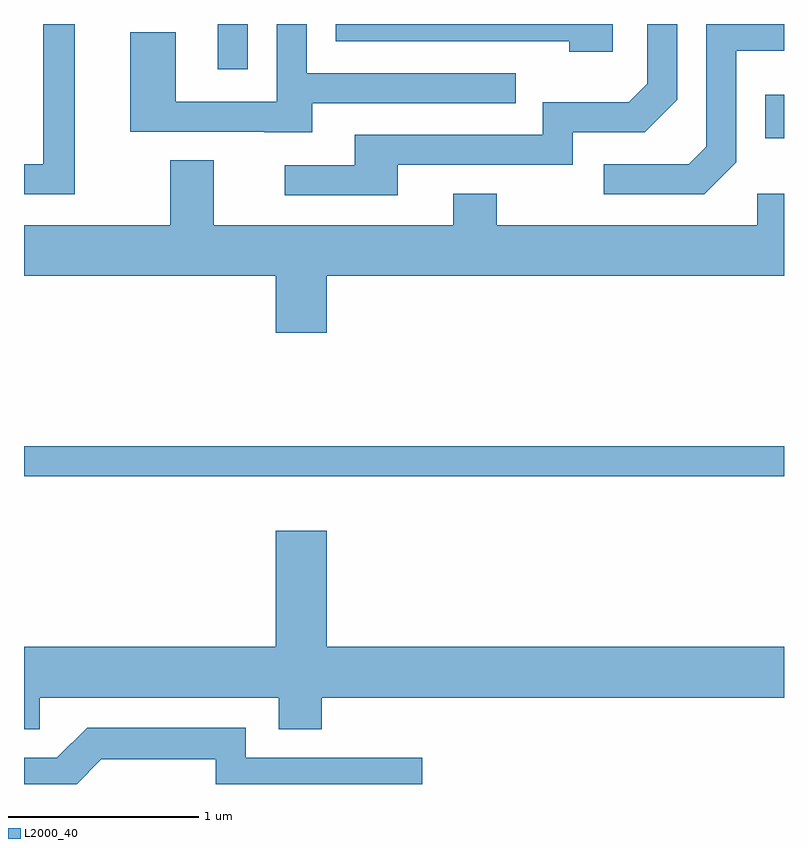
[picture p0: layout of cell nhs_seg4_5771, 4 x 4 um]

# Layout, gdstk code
import gdstk
lib = gdstk.Library(unit=1e-6, precision=1e-09)
def R(c, l, rs):  # rectangles x0, y0, x1, y1
    for r in rs: c.add(gdstk.rectangle(r[:2], r[2:], *l))
def P(c, l, *ps):  # polygons
    for p in ps: c.add(gdstk.Polygon(p, *l))
L2000_40 = (2000, 40)

nhs_seg4_5771 = lib.new_cell('nhs_seg4_5771')
R(nhs_seg4_5771, L2000_40, [(353.611,1373.601,357.611,1373.759), (357.511,1375.381,357.611,1375.609), (354.631,1375.743,354.789,1375.982)])
P(nhs_seg4_5771, L2000_40, [(355.129,1375.566),(356.198,1375.566),(356.198,1375.724),(355.099,1375.724),(355.099,1375.982),(354.941,1375.982),(354.941,1375.574),(354.409,1375.574),(354.409,1375.939),(354.171,1375.939),(354.171,1375.416),(354.875,1375.416),(354.875,1375.411),(355.129,1375.411)],
  [(355.579,1375.241),(356.499,1375.241),(356.499,1375.411),(356.877,1375.411),(357.049,1375.584),(357.049,1375.982),(356.891,1375.982),(356.891,1375.667),(356.794,1375.569),(356.341,1375.569),(356.341,1375.399),(355.351,1375.399),(355.351,1375.239),(354.983,1375.239),(354.983,1375.081),(355.579,1375.081)],
  [(356.709,1375.982),(355.251,1375.982),(355.251,1375.891),(356.481,1375.891),(356.481,1375.836),(356.709,1375.836)],
  [(357.359,1375.254),(357.359,1375.841),(357.611,1375.841),(357.611,1375.982),(357.201,1375.982),(357.201,1375.337),(357.109,1375.244),(356.663,1375.244),(356.663,1375.086),(357.192,1375.086)],
  [(353.879,1375.982),(353.711,1375.982),(353.711,1375.244),(353.611,1375.244),(353.611,1375.086),(353.879,1375.086)],
  [(355.204,1374.656),(357.611,1374.656),(357.611,1375.089),(357.471,1375.089),(357.471,1374.924),(356.099,1374.924),(356.099,1375.089),(355.871,1375.089),(355.871,1374.924),(354.609,1374.924),(354.609,1375.264),(354.381,1375.264),(354.381,1374.924),(353.611,1374.924),(353.611,1374.656),(354.936,1374.656),(354.936,1374.356),(355.204,1374.356)],
  [(353.694,1372.436),(354.951,1372.436),(354.951,1372.271),(355.179,1372.271),(355.179,1372.436),(357.611,1372.436),(357.611,1372.704),(355.204,1372.704),(355.204,1373.314),(354.936,1373.314),(354.936,1372.704),(353.611,1372.704),(353.611,1372.271),(353.694,1372.271)],
  [(354.017,1372.111),(354.621,1372.111),(354.621,1371.982),(355.708,1371.982),(355.708,1372.119),(354.779,1372.119),(354.779,1372.279),(353.944,1372.279),(353.784,1372.119),(353.611,1372.119),(353.611,1371.982),(353.888,1371.982)])

lib.write_gds('nhs_seg4_5771.gds')
